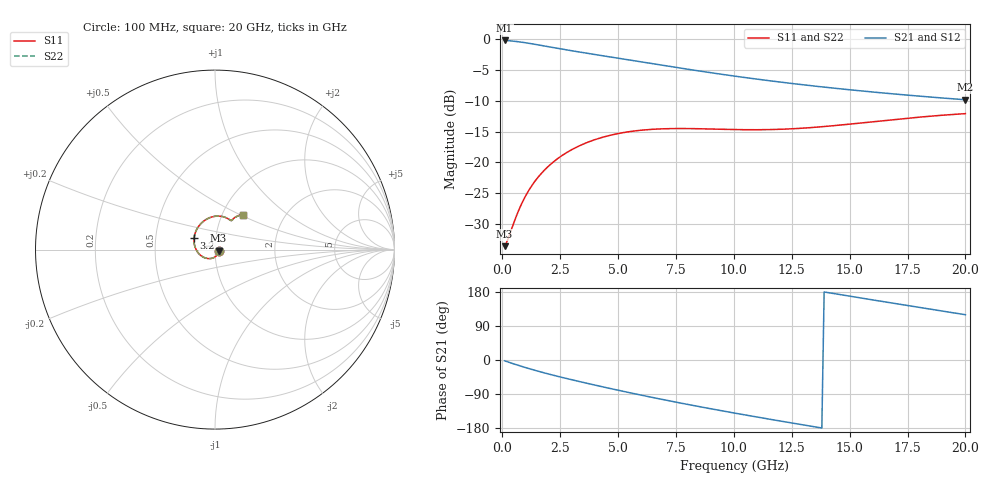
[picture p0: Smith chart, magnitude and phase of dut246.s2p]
! Touchstone file exported from HFSS 2024.1.0
!  File:  C:/UserFiles/LocalFiles/RDL_TSV_Batchsim/temp_RDL_TSV_246_1779455522.aedt
!  Generated:  09:25:13 PM May 22, 2026
!  Design:  RDL_TSV
!  Project:  temp_RDL_TSV_246_1779455522
!  Setup:  Setup1
!  Solution:  Sweep
! Variables:
!  dtsv = 14.16um
!  hbump = 3um
!  htsv = 79.14um
!  ldown = 423.83um
!  lrdl = 538.05um
!  p = 40
!  p1 = 40.04um
!  rhole = 10um
!  subl = 3423.69um
!  t = 450um
!  tdown = 2.64um
!  trdl = 2.23um
!  viad = 10um
!  wdown = 25.88um
!  wrdl = 25.44um
!  xbump = 18um
# GHz S MA R 50.000000
! Terminal data exported
! Port[1] = TM1_1_T1
! Port[2] = TM1_4_T1
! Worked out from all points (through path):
!   200 points, 100 MHz to 20 GHz, reference 50 ohm
!   highest |S21| = -0.19 dB at 100 MHz (marker M1); lowest = -9.8 dB at 20 GHz (marker M2)
!   group delay of S21, straight-line fit = 31.9 ps
!   lowest |S11| = -33.6 dB at 100 MHz (marker M3), VSWR 1.04, Z = 52.1 - j0.583 ohm
!   |S11| at or under -10 dB: start of sweep to end of sweep
!   |S22| runs from -33.6 to -12.1 dB; largest |S21 - S12| = 1.2e-14
!   S11 on the Smith chart (normalised r, x): 100 MHz: 1.04, -0.01; 3.2 GHz: 0.79, +0.10; 20 GHz: 1.25, +0.52
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0.1  0.02091 -15.5  0.9789 -2.2  0.9789 -2.2  0.02091 -15.5
! Gamma 0 0 0 0
! Port Impedance 50 0 50 0
0.2  0.02274 -30.6  0.9767 -4.3  0.9767 -4.3  0.02274 -30.6
0.8  0.04472 -97.4  0.95 -16.2  0.95 -16.2  0.04472 -97.4
1.1  0.05747 -119.3  0.9317 -21.8  0.9317 -21.8  0.05747 -119.3
1.4  0.07001 -137.4  0.9117 -27.1  0.9117 -27.1  0.07001 -137.4
1.8  0.08595 -157.8  0.8841 -33.8  0.8841 -33.8  0.08596 -157.8
2.2  0.1008 -175.0  0.8572 -40.2  0.8572 -40.2  0.1008 -175.1
3.2  0.1329 151.1  0.7959 -55.0  0.7959 -55.0  0.133 151.0
3.5  0.1411 142.8  0.7792 -59.3  0.7792 -59.3  0.1412 142.8
4.2  0.1575 126.1  0.7421 -69.0  0.7421 -69.0  0.1577 126.1
5  0.1717 110.5  0.7024 -79.8  0.7024 -79.8  0.1719 110.4
5.8  0.1811 97.9  0.6647 -90.2  0.6647 -90.2  0.1814 97.8
6.8  0.1872 85.3  0.6205 -102.8  0.6205 -102.8  0.1875 85.2
7.6  0.1886 77.6  0.5876 -112.4  0.5876 -112.4  0.1889 77.5
8.4  0.1881 71.7  0.5571 -121.8  0.5571 -121.8  0.1884 71.5
10.1  0.185 63.9  0.5005 -140.8  0.5005 -140.8  0.1852 63.7
11.7  0.1852 60.9  0.4568 -157.9  0.4568 -157.9  0.1853 60.6
13.4  0.1924 59.8  0.4189 -175.4  0.4189 -175.4  0.1922 59.5
15  0.2048 58.9  0.3893 168.5  0.3893 168.5  0.2043 58.5
16.7  0.2211 57.0  0.363 151.6  0.363 151.6  0.2202 56.6
18.3  0.236 54.3  0.3421 136.0  0.3421 136.0  0.2348 54.0
20  0.2492 51.1  0.323 119.5  0.323 119.5  0.2477 50.8
